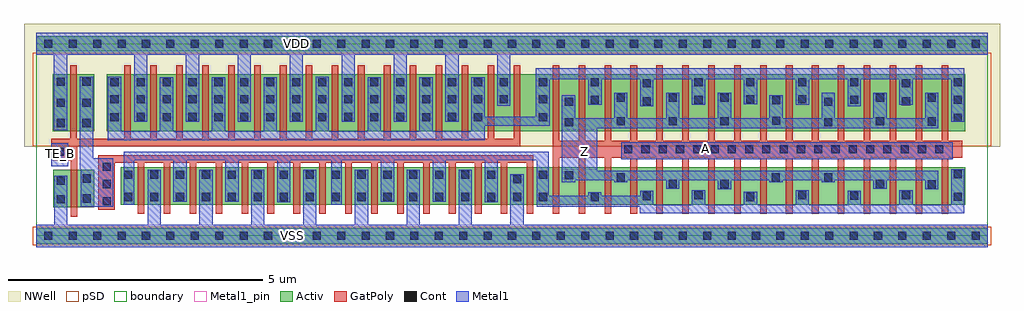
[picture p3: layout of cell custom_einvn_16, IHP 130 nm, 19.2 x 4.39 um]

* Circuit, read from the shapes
.subckt custom_einvn_16 A TE_B VDD VSS Z
XM1 n1 TE_B VSS VSS sg13_lv_nmos w=0.74u l=0.13u
XM2 VSS n1 n2 VSS sg13_lv_nmos w=0.74u l=0.13u m=16
XM3 Z A n2 VSS sg13_lv_nmos w=0.74u l=0.13u m=16
XM4 n1 TE_B VDD VDD sg13_lv_pmos w=1.12u l=0.13u
XM5 VDD TE_B n3 VDD sg13_lv_pmos w=1.12u l=0.13u m=16
XM6 Z A n3 VDD sg13_lv_pmos w=1.12u l=0.13u m=16
.ends

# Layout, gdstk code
import gdstk
lib = gdstk.Library(unit=1e-6, precision=1e-09)
def R(c, l, rs):  # rectangles x0, y0, x1, y1
    for r in rs: c.add(gdstk.rectangle(r[:2], r[2:], *l))
def A(c, l, x, y, w, h, nx, ny, dx, dy):  # array of equal rectangles
    R(c, l, [(x+i*dx, y+j*dy, x+i*dx+w, y+j*dy+h) for i in range(nx) for j in range(ny)])
def P(c, l, *ps):  # polygons
    for p in ps: c.add(gdstk.Polygon(p, *l))
Activ = (1, 0)
GatPoly = (5, 0)
Cont = (6, 0)
Metal1 = (8, 0)
Metal1_pin = (8, 2)
pSD = (14, 0)
NWell = (31, 0)
boundary = (189, 4)

custom_einvn_16 = lib.new_cell('custom_einvn_16')
R(custom_einvn_16, Activ, [(0,-0.15,18.72,0.15), (0.335,0.56,1.145,1.3), (1.66,0.615,18.28,1.355), (0.33,2.06,1.14,3.18), (1.39,2.06,18.28,3.18), (0,3.63,18.72,3.93)])
P(custom_einvn_16, GatPoly, [(10.16,0.435),(10.16,3.36),(10.29,3.36),(10.29,1.87),(10.67,1.87),(10.67,3.36),(10.8,3.36),(10.8,1.87),(11.18,1.87),(11.18,3.36),(11.31,3.36),(11.31,1.87),(11.69,1.87),(11.69,3.36),(11.82,3.36),(11.82,1.87),(12.2,1.87),(12.2,3.36),(12.33,3.36),(12.33,1.87),(12.71,1.87),(12.71,3.36),(12.84,3.36),(12.84,1.87),(13.22,1.87),(13.22,3.36),(13.35,3.36),(13.35,1.87),(13.73,1.87),(13.73,3.36),(13.86,3.36),(13.86,1.87),(14.24,1.87),(14.24,3.36),(14.37,3.36),(14.37,1.87),(14.75,1.87),(14.75,3.36),(14.88,3.36),(14.88,1.87),(15.26,1.87),(15.26,3.36),(15.39,3.36),(15.39,1.87),(15.77,1.87),(15.77,3.36),(15.9,3.36),(15.9,1.87),(16.28,1.87),(16.28,3.36),(16.41,3.36),(16.41,1.87),(16.79,1.87),(16.79,3.36),(16.92,3.36),(16.92,1.87),(17.3,1.87),(17.3,3.36),(17.43,3.36),(17.43,1.87),(17.81,1.87),(17.81,3.36),(17.94,3.36),(17.94,1.87),(18.215,1.87),(18.215,1.54),(17.94,1.54),(17.94,0.435),(17.81,0.435),(17.81,1.54),(17.43,1.54),(17.43,0.435),(17.3,0.435),(17.3,1.54),(16.92,1.54),(16.92,0.435),(16.79,0.435),(16.79,1.54),(16.41,1.54),(16.41,0.435),(16.28,0.435),(16.28,1.54),(15.9,1.54),(15.9,0.435),(15.77,0.435),(15.77,1.54),(15.39,1.54),(15.39,0.435),(15.26,0.435),(15.26,1.54),(14.88,1.54),(14.88,0.435),(14.75,0.435),(14.75,1.54),(14.37,1.54),(14.37,0.435),(14.24,0.435),(14.24,1.54),(13.86,1.54),(13.86,0.435),(13.73,0.435),(13.73,1.54),(13.35,1.54),(13.35,0.435),(13.22,0.435),(13.22,1.54),(12.84,1.54),(12.84,0.435),(12.71,0.435),(12.71,1.54),(12.33,1.54),(12.33,0.435),(12.2,0.435),(12.2,1.54),(11.82,1.54),(11.82,0.435),(11.69,0.435),(11.69,1.54),(11.31,1.54),(11.31,0.435),(11.18,0.435),(11.18,1.54),(10.8,1.54),(10.8,0.435),(10.67,0.435),(10.67,1.54),(10.29,1.54),(10.29,0.435)],
  [(2,0.435),(2,1.435),(1.55,1.435),(1.55,0.51),(1.22,0.51),(1.22,1.585),(9.78,1.585),(9.78,0.435),(9.65,0.435),(9.65,1.435),(9.27,1.435),(9.27,0.435),(9.14,0.435),(9.14,1.435),(8.76,1.435),(8.76,0.435),(8.63,0.435),(8.63,1.435),(8.25,1.435),(8.25,0.435),(8.12,0.435),(8.12,1.435),(7.74,1.435),(7.74,0.435),(7.61,0.435),(7.61,1.435),(7.23,1.435),(7.23,0.435),(7.1,0.435),(7.1,1.435),(6.72,1.435),(6.72,0.435),(6.59,0.435),(6.59,1.435),(6.21,1.435),(6.21,0.435),(6.08,0.435),(6.08,1.435),(5.7,1.435),(5.7,0.435),(5.57,0.435),(5.57,1.435),(5.19,1.435),(5.19,0.435),(5.06,0.435),(5.06,1.435),(4.68,1.435),(4.68,0.435),(4.55,0.435),(4.55,1.435),(4.17,1.435),(4.17,0.435),(4.04,0.435),(4.04,1.435),(3.66,1.435),(3.66,0.435),(3.53,0.435),(3.53,1.435),(3.15,1.435),(3.15,0.435),(3.02,0.435),(3.02,1.435),(2.64,1.435),(2.64,0.435),(2.51,0.435),(2.51,1.435),(2.13,1.435),(2.13,0.435)],
  [(0.675,0.38),(0.675,1.49),(0.3,1.49),(0.3,1.915),(0.67,1.915),(0.67,3.36),(0.8,3.36),(0.8,1.915),(1.73,1.915),(1.73,3.36),(1.86,3.36),(1.86,1.915),(2.245,1.915),(2.245,3.36),(2.375,3.36),(2.375,1.915),(2.755,1.915),(2.755,3.36),(2.885,3.36),(2.885,1.915),(3.265,1.915),(3.265,3.36),(3.395,3.36),(3.395,1.915),(3.775,1.915),(3.775,3.36),(3.905,3.36),(3.905,1.915),(4.285,1.915),(4.285,3.36),(4.415,3.36),(4.415,1.915),(4.795,1.915),(4.795,3.36),(4.925,3.36),(4.925,1.915),(5.305,1.915),(5.305,3.36),(5.435,3.36),(5.435,1.915),(5.815,1.915),(5.815,3.36),(5.945,3.36),(5.945,1.915),(6.33,1.915),(6.33,3.36),(6.46,3.36),(6.46,1.915),(6.84,1.915),(6.84,3.36),(6.97,3.36),(6.97,1.915),(7.35,1.915),(7.35,3.36),(7.48,3.36),(7.48,1.915),(7.86,1.915),(7.86,3.36),(7.99,3.36),(7.99,1.915),(8.37,1.915),(8.37,3.36),(8.5,3.36),(8.5,1.915),(8.88,1.915),(8.88,3.36),(9.01,3.36),(9.01,1.915),(9.39,1.915),(9.39,3.36),(9.52,3.36),(9.52,1.765),(0.805,1.765),(0.805,0.38)])
A(custom_einvn_16, Cont, 0.16, -0.08, 0.16, 0.16, 39, 2, 0.48, 3.78)
A(custom_einvn_16, Cont, 1.305, 0.6, 0.16, 0.16, 1, 3, 0, 0.34)
A(custom_einvn_16, Cont, 1.73, 0.685, 0.16, 0.16, 17, 1, 0.51, 0)
A(custom_einvn_16, Cont, 1.73, 1.125, 0.16, 0.16, 15, 1, 0.51, 0)
A(custom_einvn_16, Cont, 11.565, 1.625, 0.16, 0.16, 19, 1, 0.34, 0)
A(custom_einvn_16, Cont, 11.42, 2.175, 0.16, 0.16, 3, 1, 1.02, 0)
A(custom_einvn_16, Cont, 18.05, 2.245, 0.16, 0.16, 1, 3, 0, 0.35)
A(custom_einvn_16, Cont, 2.485, 2.255, 0.16, 0.16, 4, 1, 1.02, 0)
A(custom_einvn_16, Cont, 6.57, 2.255, 0.16, 0.16, 3, 1, 1.02, 0)
A(custom_einvn_16, Cont, 1.975, 2.265, 0.16, 0.16, 3, 1, 1.02, 0)
A(custom_einvn_16, Cont, 6.06, 2.265, 0.16, 0.16, 3, 1, 1.02, 0)
A(custom_einvn_16, Cont, 1.975, 2.605, 0.16, 0.16, 8, 2, 0.51, 0.34)
A(custom_einvn_16, Cont, 6.06, 2.605, 0.16, 0.16, 7, 2, 0.51, 0.34)
A(custom_einvn_16, Cont, 12.95, 2.945, 0.16, 0.16, 3, 1, 1.02, 0)
R(custom_einvn_16, Cont, [(0.405,0.64,0.565,0.8), (0.915,0.655,1.075,0.815), (10.91,0.685,11.07,0.845), (13.97,0.685,14.13,0.845), (18.05,0.69,18.21,0.85), (11.93,0.705,12.09,0.865), (16.01,0.71,16.17,0.87), (12.95,0.72,13.11,0.88), (14.99,0.725,15.15,0.885), (17.03,0.725,17.19,0.885), (17.54,0.93,17.7,1.09), (12.44,0.94,12.6,1.1), (13.46,0.94,13.62,1.1), (16.52,0.94,16.68,1.1), (0.405,1.005,0.565,1.165), (9.38,1.035,9.54,1.195), (0.915,1.05,1.075,1.21), (11.42,1.07,11.58,1.23), (14.47,1.07,14.63,1.23), (15.5,1.07,15.66,1.23), (10.4,1.11,10.56,1.27), (9.89,1.125,10.05,1.285), (18.05,1.135,18.21,1.295), (0.385,1.575,0.545,1.735), (0.4,2.14,0.56,2.3), (0.91,2.14,1.07,2.3), (10.4,2.155,10.56,2.315), (15.5,2.155,15.66,2.315), (17.54,2.17,17.7,2.33), (16.52,2.175,16.68,2.335), (14.475,2.185,14.635,2.345), (1.46,2.255,1.62,2.415), (9.89,2.255,10.05,2.415), (5.035,2.26,5.195,2.42), (0.4,2.54,0.56,2.7), (0.91,2.54,1.07,2.7), (10.4,2.56,10.56,2.72), (15.5,2.56,15.66,2.72), (11.93,2.57,12.09,2.73), (17.03,2.57,17.19,2.73), (14.475,2.59,14.635,2.75), (12.95,2.595,13.11,2.755), (10.91,2.6,11.07,2.76), (16.01,2.6,16.17,2.76), (1.46,2.605,1.62,2.765), (9.89,2.605,10.05,2.765), (13.97,2.605,14.13,2.765), (14.99,2.605,15.15,2.765), (11.42,2.635,11.58,2.795), (13.46,2.635,13.62,2.795), (16.52,2.635,16.68,2.795), (17.54,2.635,17.7,2.795), (12.44,2.64,12.6,2.8), (11.93,2.92,12.09,3.08), (17.03,2.92,17.19,3.08), (10.91,2.94,11.07,3.1), (16.01,2.94,16.17,3.1), (1.46,2.945,1.62,3.105), (9.89,2.945,10.05,3.105), (0.4,2.95,0.56,3.11), (0.91,2.95,1.07,3.11)])
R(custom_einvn_16, Metal1, [(0.3,1.37,0.63,1.82), (11.51,1.51,18.035,1.845)])
P(custom_einvn_16, Metal1, [(1.41,1.885),(1.41,3.13),(1.67,3.13),(1.67,2.055),(2.435,2.055),(2.435,3.12),(2.695,3.12),(2.695,2.055),(3.455,2.055),(3.455,3.12),(3.715,3.12),(3.715,2.055),(4.475,2.055),(4.475,3.12),(4.735,3.12),(4.735,2.055),(5.495,2.055),(5.495,3.13),(5.755,3.13),(5.755,2.055),(6.52,2.055),(6.52,3.12),(6.78,3.12),(6.78,2.055),(7.54,2.055),(7.54,3.12),(7.8,3.12),(7.8,2.055),(8.56,2.055),(8.56,3.12),(8.82,3.12),(8.82,2.34),(9.83,2.34),(9.83,3.295),(18.26,3.295),(18.26,2.245),(18,2.245),(18,3.085),(17.24,3.085),(17.24,2.575),(16.98,2.575),(16.98,3.085),(16.22,3.085),(16.22,2.55),(15.96,2.55),(15.96,3.085),(15.205,3.085),(15.205,2.58),(14.94,2.58),(14.94,3.085),(14.18,3.085),(14.18,2.585),(13.92,2.585),(13.92,3.085),(13.16,3.085),(13.16,2.575),(12.9,2.575),(12.9,3.085),(12.14,3.085),(12.14,2.55),(11.88,2.55),(11.88,3.085),(11.125,3.085),(11.125,2.58),(10.86,2.58),(10.86,3.085),(10.105,3.085),(10.105,2.17),(8.82,2.17),(8.82,1.885)],
  [(13.41,0.915),(13.41,1.09),(12.65,1.09),(12.65,0.925),(12.39,0.925),(12.39,1.09),(11.63,1.09),(11.63,1.055),(11.37,1.055),(11.37,1.09),(10.605,1.09),(10.605,1.055),(10.34,1.055),(10.34,2.77),(10.605,2.77),(10.605,2.31),(11.37,2.31),(11.37,2.815),(11.63,2.815),(11.63,2.31),(12.39,2.31),(12.39,2.815),(12.65,2.815),(12.65,2.31),(13.41,2.31),(13.41,2.815),(13.67,2.815),(13.67,2.31),(14.42,2.31),(14.42,2.77),(14.685,2.77),(14.685,2.31),(15.45,2.31),(15.45,2.815),(15.71,2.815),(15.71,2.31),(16.47,2.31),(16.47,2.815),(16.73,2.815),(16.73,2.31),(17.49,2.31),(17.49,2.815),(17.75,2.815),(17.75,2.12),(11.035,2.12),(11.035,1.28),(17.75,1.28),(17.75,0.915),(17.49,0.915),(17.49,1.09),(16.73,1.09),(16.73,0.925),(16.47,0.925),(16.47,1.09),(15.71,1.09),(15.71,1.055),(15.45,1.055),(15.45,1.09),(14.685,1.09),(14.685,1.055),(14.42,1.055),(14.42,1.09),(13.67,1.09),(13.67,0.915)],
  [(11.875,0.445),(11.875,0.57),(9.845,0.57),(9.845,1.49),(9.08,1.49),(9.08,0.665),(8.82,0.665),(8.82,1.49),(8.06,1.49),(8.06,0.67),(7.8,0.67),(7.8,1.49),(7.04,1.49),(7.04,0.67),(6.78,0.67),(6.78,1.49),(6.01,1.49),(6.01,0.615),(5.8,0.615),(5.8,1.49),(5,1.49),(5,0.665),(4.74,0.665),(4.74,1.49),(3.98,1.49),(3.98,0.67),(3.72,0.67),(3.72,1.49),(2.96,1.49),(2.96,0.67),(2.7,0.67),(2.7,1.49),(1.93,1.49),(1.93,0.615),(1.72,0.615),(1.72,1.66),(10.085,1.66),(10.085,0.79),(10.86,0.79),(10.86,0.855),(11.12,0.855),(11.12,0.79),(11.88,0.79),(11.88,0.885),(12.14,0.885),(12.14,0.615),(12.9,0.615),(12.9,0.9),(13.16,0.9),(13.16,0.615),(13.92,0.615),(13.92,0.865),(14.18,0.865),(14.18,0.615),(14.94,0.615),(14.94,0.9),(15.2,0.9),(15.2,0.615),(15.96,0.615),(15.96,0.885),(16.22,0.885),(16.22,0.615),(16.98,0.615),(16.98,0.9),(17.24,0.9),(17.24,0.615),(18,0.615),(18,1.31),(18.26,1.31),(18.26,0.445)],
  [(0.35,2.08),(0.35,3.56),(0,3.56),(0,4),(18.72,4),(18.72,3.56),(9.33,3.56),(9.33,2.565),(9.07,2.565),(9.07,3.56),(8.31,3.56),(8.31,2.245),(8.05,2.245),(8.05,3.56),(7.29,3.56),(7.29,2.245),(7.03,2.245),(7.03,3.56),(6.27,3.56),(6.27,2.245),(6.01,2.245),(6.01,3.56),(5.245,3.56),(5.245,2.245),(4.985,2.245),(4.985,3.56),(4.225,3.56),(4.225,2.245),(3.965,2.245),(3.965,3.56),(3.205,3.56),(3.205,2.245),(2.945,2.245),(2.945,3.56),(2.185,3.56),(2.185,2.245),(1.925,2.245),(1.925,3.56),(0.61,3.56),(0.61,2.08)],
  [(0,-0.22),(0,0.22),(0.355,0.22),(0.355,1.18),(0.615,1.18),(0.615,0.22),(2.19,0.22),(2.19,1.3),(2.45,1.3),(2.45,0.22),(3.21,0.22),(3.21,1.3),(3.47,1.3),(3.47,0.22),(4.23,0.22),(4.23,1.3),(4.49,1.3),(4.49,0.22),(5.25,0.22),(5.25,1.3),(5.51,1.3),(5.51,0.22),(6.27,0.22),(6.27,1.3),(6.53,1.3),(6.53,0.22),(7.29,0.22),(7.29,1.3),(7.55,1.3),(7.55,0.22),(8.31,0.22),(8.31,1.3),(8.57,1.3),(8.57,0.22),(9.33,0.22),(9.33,1.21),(9.59,1.21),(9.59,0.22),(18.72,0.22),(18.72,-0.22)],
  [(0.88,0.575),(0.88,1.32),(0.86,1.32),(0.86,3.13),(1.12,3.13),(1.12,1.525),(1.52,1.525),(1.52,0.575)])
R(custom_einvn_16, Metal1_pin, [(0,-0.22,18.72,0.22), (10.34,1.305,11.035,2.1), (0.3,1.37,0.63,1.82), (0,3.56,18.72,4)])
P(custom_einvn_16, Metal1_pin, [(11.51,1.51),(11.51,1.845),(18.035,1.845),(18.035,1.585),(18.035,1.51)])
R(custom_einvn_16, pSD, [(-0.07,-0.18,18.79,0.18), (-0.07,1.76,18.79,3.6)])
R(custom_einvn_16, NWell, [(-0.24,1.75,18.96,4.17)])
R(custom_einvn_16, boundary, [(0,0,18.72,3.78)])
custom_einvn_16.add(gdstk.Label('A', (13.175,1.72), layer=8, texttype=25))
custom_einvn_16.add(gdstk.Label('Z', (10.785,1.665), layer=8, texttype=25))
custom_einvn_16.add(gdstk.Label('TE_B', (0.48,1.63), layer=8, texttype=25))
custom_einvn_16.add(gdstk.Label('VDD', (5.13,3.78), layer=8, texttype=25))
custom_einvn_16.add(gdstk.Label('VSS', (5.04,0), layer=8, texttype=25))

lib.write_gds('custom_einvn_16.gds')
